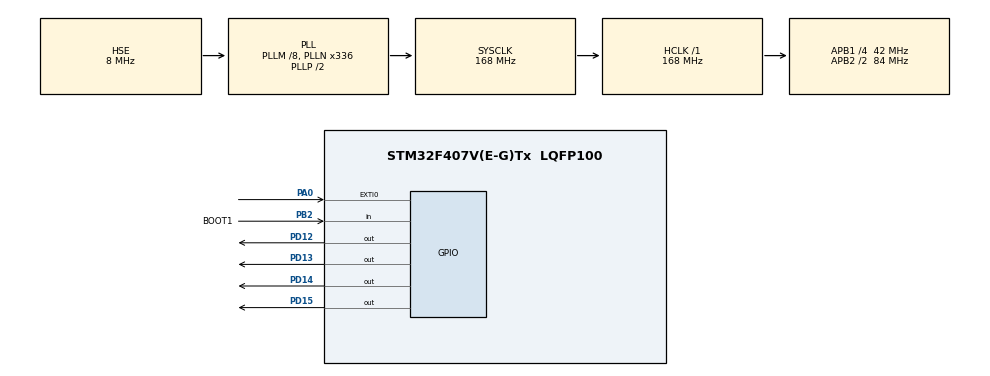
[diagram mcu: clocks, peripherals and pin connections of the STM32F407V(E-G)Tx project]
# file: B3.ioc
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ADC1.Channel-0\#ChannelRegularConversion=ADC_CHANNEL_TEMPSENSOR
ADC1.ClockPrescaler=ADC_CLOCK_SYNC_PCLK_DIV8
ADC1.ContinuousConvMode=DISABLE
ADC1.DMAContinuousRequests=DISABLE
ADC1.DataAlign=ADC_DATAALIGN_RIGHT
ADC1.DiscontinuousConvMode=DISABLE
ADC1.EOCSelection=ADC_EOC_SINGLE_CONV
ADC1.EnableAnalogWatchDog=false
ADC1.ExternalTrigConv=ADC_SOFTWARE_START
ADC1.ExternalTrigConvEdge=ADC_EXTERNALTRIGCONVEDGE_NONE
ADC1.InjNumberOfConversion=0
ADC1.NbrOfConversion=1
ADC1.NbrOfConversionFlag=1
ADC1.Rank-0\#ChannelRegularConversion=1
ADC1.Resolution=ADC_RESOLUTION_12B
ADC1.SamplingTime-0\#ChannelRegularConversion=ADC_SAMPLETIME_3CYCLES
ADC1.ScanConvMode=DISABLE
ADC1.master=1
Mcu.Family=STM32F4
Mcu.Name=STM32F407V(E-G)Tx
Mcu.Package=LQFP100
NVIC.EXTI0_IRQn=true\:0\:1\:false\:false\:true\:true
NVIC.PriorityGroup=NVIC_PRIORITYGROUP_0
NVIC.TIM6_DAC_IRQn=true\:0\:0\:false\:false\:true\:true
PA0-WKUP.Signal=GPXTI0
PA13.GPIO_Label=SWDIO
PA13.Mode=Trace_Asynchronous_SW
PA13.Signal=SYS_JTMS-SWDIO
PA14.GPIO_Label=SWCLK
PA14.Mode=Trace_Asynchronous_SW
PA14.Signal=SYS_JTCK-SWCLK
PB2.GPIO_Label=BOOT1
PB2.GPIO_Mode=GPIO_MODE_INPUT
PB2.GPIO_PuPd=GPIO_NOPULL
PB2.Signal=GPIO_Input
PB3.GPIO_Label=SWO
PB3.Mode=Trace_Asynchronous_SW
PB3.Signal=SYS_JTDO-SWO
PD12.Signal=GPIO_Output
PD13.Signal=GPIO_Output
PD14.Signal=GPIO_Output
PD15.Signal=GPIO_Output
PH0-OSC_IN.GPIO_Label=PH0-OSC_IN
PH0-OSC_IN.Mode=HSE-External-Oscillator
PH0-OSC_IN.Signal=RCC_OSC_IN
PH1-OSC_OUT.GPIO_Label=PH1-OSC_OUT
PH1-OSC_OUT.Mode=HSE-External-Oscillator
PH1-OSC_OUT.Signal=RCC_OSC_OUT
ProjectManager.HeapSize=0x400
ProjectManager.StackSize=0x400
ProjectManager.TargetToolchain=MDK-ARM V5
RCC.AHBFreq_Value=168000000
RCC.APB1CLKDivider=RCC_HCLK_DIV4
RCC.APB1Freq_Value=42000000
RCC.APB1TimFreq_Value=84000000
RCC.APB2CLKDivider=RCC_HCLK_DIV2
RCC.APB2Freq_Value=84000000
RCC.APB2TimFreq_Value=168000000
RCC.CortexFreq_Value=168000000
RCC.HCLKFreq_Value=168000000
RCC.HSE_VALUE=8000000
RCC.HSI_VALUE=16000000
RCC.LSE_VALUE=32768
RCC.PLLM=8
RCC.PLLN=336
RCC.PLLQ=7
RCC.PLLSourceVirtual=RCC_PLLSOURCE_HSE
RCC.SYSCLKFreq_VALUE=168000000
RCC.SYSCLKSource=RCC_SYSCLKSOURCE_PLLCLK
RCC.VCOOutputFreq_Value=336000000
TIM6.Period=60000
TIM6.Prescaler=2000
TIM6.TIM_MasterOutputTrigger=TIM_TRGO_UPDATE
VP_ADC1_TempSens_Input.Mode=IN-TempSens
VP_TIM6_VS_ClockSourceINT.Mode=Enable_Timer
board=STM32F4DISCOVERY

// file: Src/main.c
/**
  ******************************************************************************
  * File Name          : main.c
  * Description        : Main program body
  ******************************************************************************
  ** This notice applies to any and all portions of this file
  * that are not between comment pairs USER CODE BEGIN and
  * USER CODE END. Other portions of this file, whether
  * inserted by the user or by software development tools
  * are owned by their respective copyright owners.
  *
  * COPYRIGHT(c) 2018 STMicroelectronics
  *
  * Redistribution and use in source and binary forms, with or without modification,
  * are permitted provided that the following conditions are met:
  *   1. Redistributions of source code must retain the above copyright notice,
  *      this list of conditions and the following disclaimer.
  *   2. Redistributions in binary form must reproduce the above copyright notice,
  *      this list of conditions and the following disclaimer in the documentation
  *      and/or other materials provided with the distribution.
  *   3. Neither the name of STMicroelectronics nor the names of its contributors
  *      may be used to endorse or promote products derived from this software
  *      without specific prior written permission.
  *
  * THIS SOFTWARE IS PROVIDED BY THE COPYRIGHT HOLDERS AND CONTRIBUTORS "AS IS"
  * AND ANY EXPRESS OR IMPLIED WARRANTIES, INCLUDING, BUT NOT LIMITED TO, THE
  * IMPLIED WARRANTIES OF MERCHANTABILITY AND FITNESS FOR A PARTICULAR PURPOSE ARE
  * DISCLAIMED. IN NO EVENT SHALL THE COPYRIGHT HOLDER OR CONTRIBUTORS BE LIABLE
  * FOR ANY DIRECT, INDIRECT, INCIDENTAL, SPECIAL, EXEMPLARY, OR CONSEQUENTIAL
  * DAMAGES (INCLUDING, BUT NOT LIMITED TO, PROCUREMENT OF SUBSTITUTE GOODS OR
  * SERVICES; LOSS OF USE, DATA, OR PROFITS; OR BUSINESS INTERRUPTION) HOWEVER
  * CAUSED AND ON ANY THEORY OF LIABILITY, WHETHER IN CONTRACT, STRICT LIABILITY,
  * OR TORT (INCLUDING NEGLIGENCE OR OTHERWISE) ARISING IN ANY WAY OUT OF THE USE
  * OF THIS SOFTWARE, EVEN IF ADVISED OF THE POSSIBILITY OF SUCH DAMAGE.
  *
  ******************************************************************************
  */

#include "main.h"
#include "stm32f4xx_hal.h"

/* USER CODE BEGIN Includes */
#include "retar.c"
/* USER CODE END Includes */

ADC_HandleTypeDef hadc1;

TIM_HandleTypeDef htim6;

/* USER CODE BEGIN PV */
/* Private variables ---------------------------------------------------------*/

/* USER CODE END PV */

void SystemClock_Config(void);
static void MX_GPIO_Init(void);
static void MX_TIM6_Init(void);
static void MX_ADC1_Init(void);

/* USER CODE BEGIN PFP */
/* Private function prototypes -----------------------------------------------*/

/* USER CODE END PFP */

int main(void)
{

  /* USER CODE BEGIN 1 */
	uint32_t OldSysTick, state;
  /* USER CODE END 1 */

  /* MCU Configuration----------------------------------------------------------*/

  /* Reset of all peripherals, Initializes the Flash interface and the Systick. */
  HAL_Init();

  /* Configure the system clock */
  SystemClock_Config();

  /* Initialize all configured peripherals */
  MX_GPIO_Init();
  MX_TIM6_Init();
  MX_ADC1_Init();

  /* USER CODE BEGIN 2 */
	HAL_Delay(10);
	printf("Started...\n");
	HAL_Delay(10);
	printf("%d\n",HAL_RCC_GetHCLKFreq());
	printf("%d\n",HAL_GetTick());
	HAL_Delay(1000);
	printf("%d\n",HAL_GetTick());
	OldSysTick = HAL_GetTick(); state = 1;
	HAL_TIM_Base_Start_IT(&htim6);
  /* USER CODE END 2 */

  /* Infinite loop */
  while (1)
  {

  /* USER CODE BEGIN 3 */
//		if (htim6.Instance->SR)	{   // not required with the ISR

// lines for the ADC
//			HAL_ADC_Start(&hadc1); // went to the ISR
			if (HAL_ADC_PollForConversion (&hadc1,100) == 0)  // blocking for 100ms (here)
				printf("%d\n",HAL_ADC_GetValue(&hadc1));  // typical value 1050-ish
//			else
//				printf("ADC timeout\n");
// end of lines for the ADC

//  not required with the ISR
//			printf("%d\n",htim6.Instance->CNT);
//			htim6.Instance->SR &= ~0x1;
//			HAL_GPIO_TogglePin(GPIOD, GPIO_PIN_12);
//		}

		switch (state)	{
			case 1:
				HAL_GPIO_WritePin(GPIOD, GPIO_PIN_13,GPIO_PIN_SET);
				HAL_GPIO_WritePin(GPIOD, GPIO_PIN_14,GPIO_PIN_RESET);
				if (HAL_GetTick() > (OldSysTick + 700) )
					state = 2;
				break;
			case 2:
				HAL_GPIO_WritePin(GPIOD, GPIO_PIN_13,GPIO_PIN_RESET);
				HAL_GPIO_WritePin(GPIOD, GPIO_PIN_14,GPIO_PIN_SET);
				if (HAL_GetTick() > (OldSysTick + 700 + 900) )
					state = 3;
				break;
			case 3:
				HAL_GPIO_WritePin(GPIOD, GPIO_PIN_13,GPIO_PIN_RESET);
				HAL_GPIO_WritePin(GPIOD, GPIO_PIN_14,GPIO_PIN_RESET);
				if (HAL_GetTick() > (OldSysTick + 700 + 900 + 1300) ) {
					state = 1; 	OldSysTick = HAL_GetTick();
//					HAL_GPIO_TogglePin(GPIOD, GPIO_PIN_12); // when timer works
				}
				break;
		}

// this code went into the EXTI0 ISR
//		if ( HAL_GPIO_ReadPin(GPIOA,GPIO_PIN_0) )
//			HAL_GPIO_WritePin(GPIOD, GPIO_PIN_15, GPIO_PIN_SET);
//		else
//			HAL_GPIO_WritePin(GPIOD, GPIO_PIN_15, GPIO_PIN_RESET);

  }
  /* USER CODE END 3 */

}

/** System Clock Configuration
*/
void SystemClock_Config(void)
{

  RCC_OscInitTypeDef RCC_OscInitStruct;
  RCC_ClkInitTypeDef RCC_ClkInitStruct;

    /**Configure the main internal regulator output voltage
    */
  __HAL_RCC_PWR_CLK_ENABLE();

  __HAL_PWR_VOLTAGESCALING_CONFIG(PWR_REGULATOR_VOLTAGE_SCALE1);

    /**Initializes the CPU, AHB and APB busses clocks
    */
  RCC_OscInitStruct.OscillatorType = RCC_OSCILLATORTYPE_HSE;
  RCC_OscInitStruct.HSEState = RCC_HSE_ON;
  RCC_OscInitStruct.PLL.PLLState = RCC_PLL_ON;
  RCC_OscInitStruct.PLL.PLLSource = RCC_PLLSOURCE_HSE;
  RCC_OscInitStruct.PLL.PLLM = 8;
  RCC_OscInitStruct.PLL.PLLN = 336;
  RCC_OscInitStruct.PLL.PLLP = RCC_PLLP_DIV2;
  RCC_OscInitStruct.PLL.PLLQ = 7;
  if (HAL_RCC_OscConfig(&RCC_OscInitStruct) != HAL_OK)
  {
    _Error_Handler(__FILE__, __LINE__);
  }

    /**Initializes the CPU, AHB and APB busses clocks
    */
  RCC_ClkInitStruct.ClockType = RCC_CLOCKTYPE_HCLK|RCC_CLOCKTYPE_SYSCLK
                              |RCC_CLOCKTYPE_PCLK1|RCC_CLOCKTYPE_PCLK2;
  RCC_ClkInitStruct.SYSCLKSource = RCC_SYSCLKSOURCE_PLLCLK;
  RCC_ClkInitStruct.AHBCLKDivider = RCC_SYSCLK_DIV1;
  RCC_ClkInitStruct.APB1CLKDivider = RCC_HCLK_DIV4;
  RCC_ClkInitStruct.APB2CLKDivider = RCC_HCLK_DIV2;

  if (HAL_RCC_ClockConfig(&RCC_ClkInitStruct, FLASH_LATENCY_5) != HAL_OK)
  {
    _Error_Handler(__FILE__, __LINE__);
  }

    /**Configure the Systick interrupt time
    */
  HAL_SYSTICK_Config(HAL_RCC_GetHCLKFreq()/1000);

    /**Configure the Systick
    */
  HAL_SYSTICK_CLKSourceConfig(SYSTICK_CLKSOURCE_HCLK);

  /* SysTick_IRQn interrupt configuration */
  HAL_NVIC_SetPriority(SysTick_IRQn, 0, 1);
}

/* ADC1 init function */
static void MX_ADC1_Init(void)
{

  ADC_ChannelConfTypeDef sConfig;

    /**Configure the global features of the ADC (Clock, Resolution, Data Alignment and number of conversion)
    */
  hadc1.Instance = ADC1;
  hadc1.Init.ClockPrescaler = ADC_CLOCK_SYNC_PCLK_DIV8;
  hadc1.Init.Resolution = ADC_RESOLUTION_12B;
  hadc1.Init.ScanConvMode = DISABLE;
  hadc1.Init.ContinuousConvMode = DISABLE;
  hadc1.Init.DiscontinuousConvMode = DISABLE;
  hadc1.Init.ExternalTrigConvEdge = ADC_EXTERNALTRIGCONVEDGE_NONE;
  hadc1.Init.ExternalTrigConv = ADC_SOFTWARE_START;
  hadc1.Init.DataAlign = ADC_DATAALIGN_RIGHT;
  hadc1.Init.NbrOfConversion = 1;
  hadc1.Init.DMAContinuousRequests = DISABLE;
  hadc1.Init.EOCSelection = ADC_EOC_SINGLE_CONV;
  if (HAL_ADC_Init(&hadc1) != HAL_OK)
  {
    _Error_Handler(__FILE__, __LINE__);
  }

    /**Configure for the selected ADC regular channel its corresponding rank in the sequencer and its sample time.
    */
  sConfig.Channel = ADC_CHANNEL_TEMPSENSOR;
  sConfig.Rank = 1;
  sConfig.SamplingTime = ADC_SAMPLETIME_3CYCLES;
  if (HAL_ADC_ConfigChannel(&hadc1, &sConfig) != HAL_OK)
  {
    _Error_Handler(__FILE__, __LINE__);
  }

}

/* TIM6 init function */
static void MX_TIM6_Init(void)
{

  TIM_MasterConfigTypeDef sMasterConfig;

  htim6.Instance = TIM6;
  htim6.Init.Prescaler = 2000;
  htim6.Init.CounterMode = TIM_COUNTERMODE_UP;
  htim6.Init.Period = 60000;
  if (HAL_TIM_Base_Init(&htim6) != HAL_OK)
  {
    _Error_Handler(__FILE__, __LINE__);
  }

  sMasterConfig.MasterOutputTrigger = TIM_TRGO_UPDATE;
  sMasterConfig.MasterSlaveMode = TIM_MASTERSLAVEMODE_DISABLE;
  if (HAL_TIMEx_MasterConfigSynchronization(&htim6, &sMasterConfig) != HAL_OK)
  {
    _Error_Handler(__FILE__, __LINE__);
  }

}

/** Configure pins as
        * Analog
        * Input
        * Output
        * EVENT_OUT
        * EXTI
        * Free pins are configured automatically as Analog (this feature is enabled through
        * the Code Generation settings)
*/
static void MX_GPIO_Init(void)
{

  GPIO_InitTypeDef GPIO_InitStruct;

  /* GPIO Ports Clock Enable */
  __HAL_RCC_GPIOE_CLK_ENABLE();
  __HAL_RCC_GPIOC_CLK_ENABLE();
  __HAL_RCC_GPIOH_CLK_ENABLE();
  __HAL_RCC_GPIOA_CLK_ENABLE();
  __HAL_RCC_GPIOB_CLK_ENABLE();
  __HAL_RCC_GPIOD_CLK_ENABLE();

  /*Configure GPIO pin Output Level */
  HAL_GPIO_WritePin(GPIOD, GPIO_PIN_12|GPIO_PIN_13|GPIO_PIN_14|GPIO_PIN_15, GPIO_PIN_RESET);

  /*Configure GPIO pins : PE2 PE3 PE4 PE5
                           PE6 PE7 PE8 PE9
                           PE10 PE11 PE12 PE13
                           PE14 PE15 PE0 PE1 */
  GPIO_InitStruct.Pin = GPIO_PIN_2|GPIO_PIN_3|GPIO_PIN_4|GPIO_PIN_5
                          |GPIO_PIN_6|GPIO_PIN_7|GPIO_PIN_8|GPIO_PIN_9
                          |GPIO_PIN_10|GPIO_PIN_11|GPIO_PIN_12|GPIO_PIN_13
                          |GPIO_PIN_14|GPIO_PIN_15|GPIO_PIN_0|GPIO_PIN_1;
  GPIO_InitStruct.Mode = GPIO_MODE_ANALOG;
  GPIO_InitStruct.Pull = GPIO_NOPULL;
  HAL_GPIO_Init(GPIOE, &GPIO_InitStruct);

  /*Configure GPIO pins : PC13 PC14 PC15 PC0
                           PC1 PC2 PC3 PC4
                           PC5 PC6 PC7 PC8
                           PC9 PC10 PC11 PC12 */
  GPIO_InitStruct.Pin = GPIO_PIN_13|GPIO_PIN_14|GPIO_PIN_15|GPIO_PIN_0
                          |GPIO_PIN_1|GPIO_PIN_2|GPIO_PIN_3|GPIO_PIN_4
                          |GPIO_PIN_5|GPIO_PIN_6|GPIO_PIN_7|GPIO_PIN_8
                          |GPIO_PIN_9|GPIO_PIN_10|GPIO_PIN_11|GPIO_PIN_12;
  GPIO_InitStruct.Mode = GPIO_MODE_ANALOG;
  GPIO_InitStruct.Pull = GPIO_NOPULL;
  HAL_GPIO_Init(GPIOC, &GPIO_InitStruct);

  /*Configure GPIO pin : PA0 */
  GPIO_InitStruct.Pin = GPIO_PIN_0;
  GPIO_InitStruct.Mode = GPIO_MODE_IT_RISING;
  GPIO_InitStruct.Pull = GPIO_NOPULL;
  HAL_GPIO_Init(GPIOA, &GPIO_InitStruct);

  /*Configure GPIO pins : PA1 PA2 PA3 PA4
                           PA5 PA6 PA7 PA8
                           PA9 PA10 PA11 PA12
                           PA15 */
  GPIO_InitStruct.Pin = GPIO_PIN_1|GPIO_PIN_2|GPIO_PIN_3|GPIO_PIN_4
                          |GPIO_PIN_5|GPIO_PIN_6|GPIO_PIN_7|GPIO_PIN_8
                          |GPIO_PIN_9|GPIO_PIN_10|GPIO_PIN_11|GPIO_PIN_12
                          |GPIO_PIN_15;
  GPIO_InitStruct.Mode = GPIO_MODE_ANALOG;
  GPIO_InitStruct.Pull = GPIO_NOPULL;
  HAL_GPIO_Init(GPIOA, &GPIO_InitStruct);

  /*Configure GPIO pins : PB0 PB1 PB10 PB11
                           PB12 PB13 PB14 PB15
                           PB4 PB5 PB6 PB7
                           PB8 PB9 */
  GPIO_InitStruct.Pin = GPIO_PIN_0|GPIO_PIN_1|GPIO_PIN_10|GPIO_PIN_11
                          |GPIO_PIN_12|GPIO_PIN_13|GPIO_PIN_14|GPIO_PIN_15
                          |GPIO_PIN_4|GPIO_PIN_5|GPIO_PIN_6|GPIO_PIN_7
                          |GPIO_PIN_8|GPIO_PIN_9;
  GPIO_InitStruct.Mode = GPIO_MODE_ANALOG;
  GPIO_InitStruct.Pull = GPIO_NOPULL;
  HAL_GPIO_Init(GPIOB, &GPIO_InitStruct);

  /*Configure GPIO pin : BOOT1_Pin */
  GPIO_InitStruct.Pin = BOOT1_Pin;
  GPIO_InitStruct.Mode = GPIO_MODE_INPUT;
  GPIO_InitStruct.Pull = GPIO_NOPULL;
  HAL_GPIO_Init(BOOT1_GPIO_Port, &GPIO_InitStruct);

  /*Configure GPIO pins : PD8 PD9 PD10 PD11
                           PD0 PD1 PD2 PD3
                           PD4 PD5 PD6 PD7 */
  GPIO_InitStruct.Pin = GPIO_PIN_8|GPIO_PIN_9|GPIO_PIN_10|GPIO_PIN_11
                          |GPIO_PIN_0|GPIO_PIN_1|GPIO_PIN_2|GPIO_PIN_3
                          |GPIO_PIN_4|GPIO_PIN_5|GPIO_PIN_6|GPIO_PIN_7;
  GPIO_InitStruct.Mode = GPIO_MODE_ANALOG;
  GPIO_InitStruct.Pull = GPIO_NOPULL;
  HAL_GPIO_Init(GPIOD, &GPIO_InitStruct);

  /*Configure GPIO pins : PD12 PD13 PD14 PD15 */
  GPIO_InitStruct.Pin = GPIO_PIN_12|GPIO_PIN_13|GPIO_PIN_14|GPIO_PIN_15;
  GPIO_InitStruct.Mode = GPIO_MODE_OUTPUT_PP;
  GPIO_InitStruct.Pull = GPIO_NOPULL;
  GPIO_InitStruct.Speed = GPIO_SPEED_FREQ_LOW;
  HAL_GPIO_Init(GPIOD, &GPIO_InitStruct);

  /* EXTI interrupt init*/
  HAL_NVIC_SetPriority(EXTI0_IRQn, 0, 1);
  HAL_NVIC_EnableIRQ(EXTI0_IRQn);

}

void _Error_Handler(char * file, int line)
{
  while(1)
  {
  }
}

/************************ (C) COPYRIGHT STMicroelectronics *****END OF FILE****/
